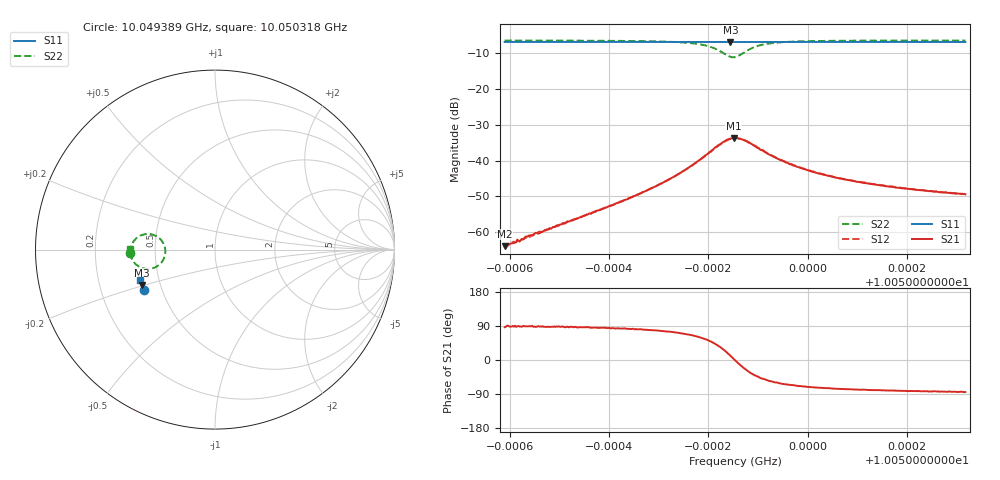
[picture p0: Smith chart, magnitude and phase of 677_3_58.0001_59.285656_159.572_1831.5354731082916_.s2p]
#  HZ  S  RI  R  50.00
! Rohde & Schwarz Vector Network Analyzer
! Rohde-Schwarz,ZNB20-2Port,1311601062101988,3.16
! Created: UTC 3/21/2024, 1:20:43 AM
! freq[Hz]  re:S11  im:S11  re:S21  im:S21  re:S12  im:S12  re:S22  im:S22
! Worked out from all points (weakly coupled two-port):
!   401 points, 10.049389 GHz to 10.050318 GHz, reference 50 ohm
!   highest |S21| = -33.70 dB at 10.049851 GHz (marker M1); lowest = -63.9 dB at 10.049389 GHz (marker M2)
!   lowest |S11| = -6.9 dB at 10.049844 GHz (marker M3), VSWR 2.64, Z = 19.8 - j9.77 ohm
!   |S11| at or under -10 dB: nowhere
!   |S22| runs from -11.2 to -6.5 dB; largest |S21 - S12| = 0.0017
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1.00493892e10  -0.3948 -0.2247  3.89e-05 0.000637  -3.01e-05 0.000646  -0.4741 -0.0178
1.0049424e10  -0.3958 -0.2226  2.91e-05 0.000799  -2.37e-05 0.000803  -0.4738 -0.0138
1.00494356e10  -0.396 -0.2219  1.77e-05 0.000866  -4.04e-05 0.000888  -0.4737 -0.0126
1.00494612e10  -0.3971 -0.2205  2.49e-05 0.00101  -3.76e-05 0.000969  -0.4734 -0.00949
1.00495447e10  -0.3995 -0.2155  0.000106 0.00163  4.21e-06 0.00163  -0.472 0.0019
1.00496283e10  -0.4017 -0.2104  0.000326 0.00273  0.000213 0.00274  -0.468 0.0176
1.00497003e10  -0.4039 -0.2058  0.00102 0.00452  0.000725 0.00458  -0.4588 0.0383
1.0049749e10  -0.4051 -0.2028  0.00247 0.00664  0.00205 0.00679  -0.4417 0.0601
1.00497908e10  -0.4061 -0.1998  0.0063 0.00943  0.00565 0.00972  -0.4013 0.0833
1.0049821e10  -0.4061 -0.1979  0.0133 0.00971  0.0124 0.0106  -0.3354 0.0791
1.00498442e10  -0.4058 -0.1969  0.0198 0.00394  0.0192 0.00542  -0.2807 0.0174
1.00498512e10  -0.4059 -0.1969  0.0206 0.000802  0.0204 0.00238  -0.2766 -0.0118
1.00498535e10  -0.4058 -0.197  0.0206 -0.000126  0.0204 0.00135  -0.2775 -0.0217
1.00498674e10  -0.4064 -0.1966  0.0189 -0.00573  0.0192 -0.00436  -0.3 -0.0736
1.00498791e10  -0.4069 -0.1964  0.0159 -0.00874  0.0168 -0.00759  -0.3322 -0.0985
1.00498953e10  -0.4078 -0.1956  0.0117 -0.0103  0.0126 -0.00962  -0.375 -0.1079
1.00499116e10  -0.4086 -0.1948  0.00859 -0.0104  0.00946 -0.0099  -0.4062 -0.1026
1.00499603e10  -0.4105 -0.1917  0.00389 -0.0084  0.00452 -0.00812  -0.4492 -0.0731
1.00500091e10  -0.412 -0.1887  0.00221 -0.00664  0.00263 -0.0066  -0.4635 -0.0516
1.00500671e10  -0.4134 -0.185  0.00131 -0.00542  0.00166 -0.00538  -0.47 -0.0344
1.00501646e10  -0.416 -0.179  0.000696 -0.00425  0.00096 -0.00426  -0.4738 -0.0161
1.00503179e10  -0.4197 -0.1696  0.000325 -0.00336  0.000544 -0.00336  -0.4753 0.00325
